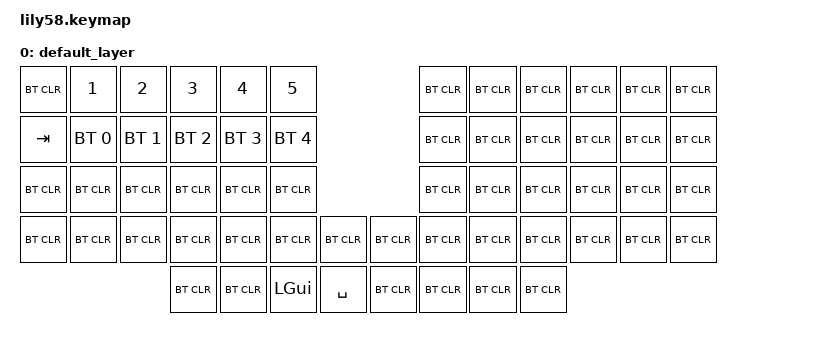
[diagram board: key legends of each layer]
/*
 * Copyright (c) 2020 The ZMK Contributors
 *
 * SPDX-License-Identifier: MIT
 */

#include <behaviors.dtsi>
#include <dt-bindings/zmk/keys.h>
#include <dt-bindings/zmk/bt.h>
#include <dt-bindings/zmk/ext_power.h>
#include <dt-bindings/zmk/outputs.h>

#define MO_TOG(layer) &mo_tog layer layer   // Macro to apply momentary-layer-on-hold/toggle-layer-on-tap to a specific layer

/ {
    keymap {
        compatible = "zmk,keymap";

        default_layer {

// +--------+--------+--------+--------+--------+--------+                        +--------+--------+--------+--------+--------+--------+
// |  CLR   |   1    |   2    |   3    |   4    |   5    |                        |  CLR   |  CLR   |  CLR   |  CLR   |  CLR   |  CLR   |
// +--------+--------+--------+--------+--------+--------+                        +--------+--------+--------+--------+--------+--------+
// |  TAB   |  BT0   |  BT1   |  BT2   |  BT3   |  BT4   |                        |  CLR   |  CLR   |  CLR   |  CLR   |  CLR   |  CLR   |
// +--------+--------+--------+--------+--------+--------+                        +--------+--------+--------+--------+--------+--------+
// |  CLR   |  CLR   |  CLR   |  CLR   |  CLR   |  CLR   |                        |  CLR   |  CLR   |  CLR   |  CLR   |  CLR   |  CLR   |
// +--------+--------+--------+--------+--------+--------+--------+      +--------+--------+--------+--------+--------+--------+--------+
// |  CLR   |  CLR   |  CLR   |  CLR   |  CLR   |  CLR   |  CLR   |      |  CLR   |  CLR   |  CLR   |  CLR   |  CLR   |  CLR   |  CLR   |
// +--------+--------+--------+--------+--------+--------+--------+      +--------+--------+--------+--------+--------+--------+--------+
//                            |  CLR   |  CLR   |  CMD   | SPACE  |      |  CLR   |  CLR   |  CLR   |  CLR   |
//                            +--------+--------+--------+--------+      +--------+--------+--------+--------+

            bindings = <
    &bt BT_CLR &kp N1       &kp N2       &kp N3       &kp N4       &kp N5                           &bt BT_CLR &bt BT_CLR &bt BT_CLR &bt BT_CLR &bt BT_CLR &bt BT_CLR 
    &kp TAB    &bt BT_SEL 0 &bt BT_SEL 1 &bt BT_SEL 2 &bt BT_SEL 3 &bt BT_SEL 4                           &bt BT_CLR &bt BT_CLR &bt BT_CLR &bt BT_CLR &bt BT_CLR &bt BT_CLR 
    &bt BT_CLR &bt BT_CLR   &bt BT_CLR   &bt BT_CLR   &bt BT_CLR   &bt BT_CLR                           &bt BT_CLR &bt BT_CLR &bt BT_CLR &bt BT_CLR &bt BT_CLR &bt BT_CLR 
    &bt BT_CLR &bt BT_CLR   &bt BT_CLR   &bt BT_CLR   &bt BT_CLR   &bt BT_CLR &bt BT_CLR     &bt BT_CLR &bt BT_CLR &bt BT_CLR &bt BT_CLR &bt BT_CLR &bt BT_CLR &bt BT_CLR 
                                     &bt BT_CLR &bt BT_CLR &kp LGUI   &kp SPACE      &bt BT_CLR &bt BT_CLR &bt BT_CLR &bt BT_CLR 
            >;
        };
        
    };
};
